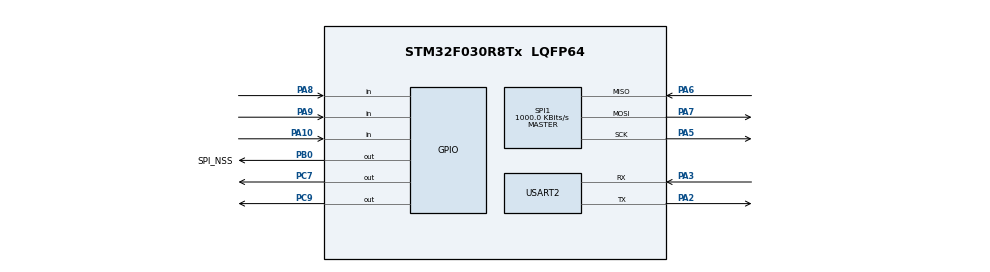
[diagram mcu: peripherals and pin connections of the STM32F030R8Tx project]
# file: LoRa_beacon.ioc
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Mcu.Family=STM32F0
Mcu.Name=STM32F030R8Tx
Mcu.Package=LQFP64
PA10.Signal=GPIO_Input
PA13.Mode=Serial_Wire
PA13.Signal=SYS_SWDIO
PA14.Mode=Serial_Wire
PA14.Signal=SYS_SWCLK
PA2.Mode=Asynchronous
PA2.Signal=USART2_TX
PA3.Mode=Asynchronous
PA3.Signal=USART2_RX
PA5.Mode=Full_Duplex_Master
PA5.Signal=SPI1_SCK
PA6.Mode=Full_Duplex_Master
PA6.Signal=SPI1_MISO
PA7.Mode=Full_Duplex_Master
PA7.Signal=SPI1_MOSI
PA8.Signal=GPIO_Input
PA9.Signal=GPIO_Input
PB0.GPIO_Label=SPI_NSS
PB0.Signal=GPIO_Output
PC7.Signal=GPIO_Output
PC9.Signal=GPIO_Output
ProjectManager.HeapSize=0x200
ProjectManager.StackSize=0x400
ProjectManager.TargetToolchain=STM32CubeIDE
SPI1.BaudRatePrescaler=SPI_BAUDRATEPRESCALER_8
SPI1.CalculateBaudRate=1000.0 KBits/s
SPI1.DataSize=SPI_DATASIZE_8BIT
SPI1.Direction=SPI_DIRECTION_2LINES
SPI1.Mode=SPI_MODE_MASTER
SPI1.NSSPMode=SPI_NSS_PULSE_DISABLE
SPI1.VirtualType=VM_MASTER
USART2.VirtualMode-Asynchronous=VM_ASYNC
board=custom

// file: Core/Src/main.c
/* USER CODE BEGIN Header */
/**
  ******************************************************************************
  * @file           : main.c
  * @brief          : Main program body
  ******************************************************************************
  * @attention
  *
  * Copyright (c) 2023 STMicroelectronics.
  * All rights reserved.
  *
  * This software is licensed under terms that can be found in the LICENSE file
  * in the root directory of this software component.
  * If no LICENSE file comes with this software, it is provided AS-IS.
  *
  ******************************************************************************
  */
/* USER CODE END Header */
#include "main.h"

/* USER CODE BEGIN Includes */
#include "stm32-hal-rfm95/rfm95.h"
#include <stdio.h>
/* USER CODE END Includes */

SPI_HandleTypeDef hspi1;

UART_HandleTypeDef huart2;

void SystemClock_Config(void);
static void MX_GPIO_Init(void);
static void MX_USART2_UART_Init(void);
static void MX_SPI1_Init(void);
/* USER CODE BEGIN PFP */
#ifdef __GNUC__
#define PUTCHAR_PROTOTYPE int __io_putchar(int ch)
#else
#define PUTCHAR_PROTOTYPE int fputc(int ch, FILE *f)
#endif

PUTCHAR_PROTOTYPE
{
  HAL_UART_Transmit(&huart2, (uint8_t *)&ch, 1, HAL_MAX_DELAY);
  return ch;
}

rfm95_handle_t rfm95_handle = {
	.spi_handle = &hspi1,
	.nss_pin = GPIO_PIN_0,
	.nss_port = GPIOB,
	.nrst_pin = GPIO_PIN_9,
	.nrst_port = GPIOC,

};

/* USER CODE END PFP */

int main(void)
{

  /* MCU Configuration--------------------------------------------------------*/

  /* Reset of all peripherals, Initializes the Flash interface and the Systick. */
  HAL_Init();

  /* Configure the system clock */
  SystemClock_Config();

  /* Initialize all configured peripherals */
  MX_GPIO_Init();
  MX_USART2_UART_Init();
  MX_SPI1_Init();
  /* USER CODE BEGIN 2 */
  HAL_GPIO_WritePin(GPIOB, GPIO_PIN_0, GPIO_PIN_RESET);
  uint8_t transmit_buffer = 0x42;
  char buffer[20];

  HAL_SPI_Transmit(&hspi1, &transmit_buffer, 1, RFM95_SPI_TIMEOUT);

  HAL_SPI_Receive(&hspi1, (uint8_t*)buffer, 1, RFM95_SPI_TIMEOUT);

  HAL_GPIO_WritePin(GPIOB, GPIO_PIN_0, GPIO_PIN_SET);

	  // Initialise RFM95 module.
  if (!rfm95_init(&rfm95_handle, &huart2)) {

  } else {
	  uint8_t init_message_success[] = "RFM95 init success\n\r";
	  HAL_UART_Transmit(&huart2, init_message_success, sizeof(init_message_success), 10);
	  HAL_Delay(1000);
  }

  uint8_t payloadBuff = 0;
  size_t payload_len = 0;

  /* USER CODE END 2 */

  /* Infinite loop */
  /* USER CODE BEGIN WHILE */
  while (1)
  {

	if(receive_package(&rfm95_handle, &payloadBuff, &payload_len, 0, &huart2)) {
		uint8_t* message = "here2";
		HAL_UART_Transmit(&huart2, message, 5, 10);
	}

	payloadBuff = 0;
	payload_len = 0;
    /* USER CODE END WHILE */

  }
}

void SystemClock_Config(void)
{
  RCC_OscInitTypeDef RCC_OscInitStruct = {0};
  RCC_ClkInitTypeDef RCC_ClkInitStruct = {0};

  /** Initializes the RCC Oscillators according to the specified parameters
  * in the RCC_OscInitTypeDef structure.
  */
  RCC_OscInitStruct.OscillatorType = RCC_OSCILLATORTYPE_HSI;
  RCC_OscInitStruct.HSIState = RCC_HSI_ON;
  RCC_OscInitStruct.HSICalibrationValue = RCC_HSICALIBRATION_DEFAULT;
  RCC_OscInitStruct.PLL.PLLState = RCC_PLL_NONE;
  if (HAL_RCC_OscConfig(&RCC_OscInitStruct) != HAL_OK)
  {
    Error_Handler();
  }

  /** Initializes the CPU, AHB and APB buses clocks
  */
  RCC_ClkInitStruct.ClockType = RCC_CLOCKTYPE_HCLK|RCC_CLOCKTYPE_SYSCLK
                              |RCC_CLOCKTYPE_PCLK1;
  RCC_ClkInitStruct.SYSCLKSource = RCC_SYSCLKSOURCE_HSI;
  RCC_ClkInitStruct.AHBCLKDivider = RCC_SYSCLK_DIV1;
  RCC_ClkInitStruct.APB1CLKDivider = RCC_HCLK_DIV1;

  if (HAL_RCC_ClockConfig(&RCC_ClkInitStruct, FLASH_LATENCY_0) != HAL_OK)
  {
    Error_Handler();
  }
}

static void MX_SPI1_Init(void)
{

  /* SPI1 parameter configuration*/
  hspi1.Instance = SPI1;
  hspi1.Init.Mode = SPI_MODE_MASTER;
  hspi1.Init.Direction = SPI_DIRECTION_2LINES;
  hspi1.Init.DataSize = SPI_DATASIZE_8BIT;
  hspi1.Init.CLKPolarity = SPI_POLARITY_LOW;
  hspi1.Init.CLKPhase = SPI_PHASE_1EDGE;
  hspi1.Init.NSS = SPI_NSS_SOFT;
  hspi1.Init.BaudRatePrescaler = SPI_BAUDRATEPRESCALER_8;
  hspi1.Init.FirstBit = SPI_FIRSTBIT_MSB;
  hspi1.Init.TIMode = SPI_TIMODE_DISABLE;
  hspi1.Init.CRCCalculation = SPI_CRCCALCULATION_DISABLE;
  hspi1.Init.CRCPolynomial = 7;
  hspi1.Init.CRCLength = SPI_CRC_LENGTH_DATASIZE;
  hspi1.Init.NSSPMode = SPI_NSS_PULSE_DISABLE;
  if (HAL_SPI_Init(&hspi1) != HAL_OK)
  {
    Error_Handler();
  }

}

static void MX_USART2_UART_Init(void)
{

  huart2.Instance = USART2;
  huart2.Init.BaudRate = 38400;
  huart2.Init.WordLength = UART_WORDLENGTH_8B;
  huart2.Init.StopBits = UART_STOPBITS_1;
  huart2.Init.Parity = UART_PARITY_NONE;
  huart2.Init.Mode = UART_MODE_TX_RX;
  huart2.Init.HwFlowCtl = UART_HWCONTROL_NONE;
  huart2.Init.OverSampling = UART_OVERSAMPLING_16;
  huart2.Init.OneBitSampling = UART_ONE_BIT_SAMPLE_DISABLE;
  huart2.AdvancedInit.AdvFeatureInit = UART_ADVFEATURE_NO_INIT;
  if (HAL_UART_Init(&huart2) != HAL_OK)
  {
    Error_Handler();
  }

}

static void MX_GPIO_Init(void)
{
  GPIO_InitTypeDef GPIO_InitStruct = {0};

  /* GPIO Ports Clock Enable */
  __HAL_RCC_GPIOA_CLK_ENABLE();
  __HAL_RCC_GPIOB_CLK_ENABLE();
  __HAL_RCC_GPIOC_CLK_ENABLE();

  /*Configure GPIO pin Output Level */
  HAL_GPIO_WritePin(SPI_NSS_GPIO_Port, SPI_NSS_Pin, GPIO_PIN_RESET);

  /*Configure GPIO pin Output Level */
  HAL_GPIO_WritePin(GPIOC, GPIO_PIN_7|GPIO_PIN_9, GPIO_PIN_RESET);

  /*Configure GPIO pin : SPI_NSS_Pin */
  GPIO_InitStruct.Pin = SPI_NSS_Pin;
  GPIO_InitStruct.Mode = GPIO_MODE_OUTPUT_PP;
  GPIO_InitStruct.Pull = GPIO_NOPULL;
  GPIO_InitStruct.Speed = GPIO_SPEED_FREQ_LOW;
  HAL_GPIO_Init(SPI_NSS_GPIO_Port, &GPIO_InitStruct);

  /*Configure GPIO pins : PC7 PC9 */
  GPIO_InitStruct.Pin = GPIO_PIN_7|GPIO_PIN_9;
  GPIO_InitStruct.Mode = GPIO_MODE_OUTPUT_PP;
  GPIO_InitStruct.Pull = GPIO_NOPULL;
  GPIO_InitStruct.Speed = GPIO_SPEED_FREQ_LOW;
  HAL_GPIO_Init(GPIOC, &GPIO_InitStruct);

  /*Configure GPIO pins : PA8 PA9 PA10 */
  GPIO_InitStruct.Pin = GPIO_PIN_8|GPIO_PIN_9|GPIO_PIN_10;
  GPIO_InitStruct.Mode = GPIO_MODE_INPUT;
  GPIO_InitStruct.Pull = GPIO_NOPULL;
  HAL_GPIO_Init(GPIOA, &GPIO_InitStruct);

}

void Error_Handler(void)
{
  __disable_irq();
  while (1)
  {
  }
}
